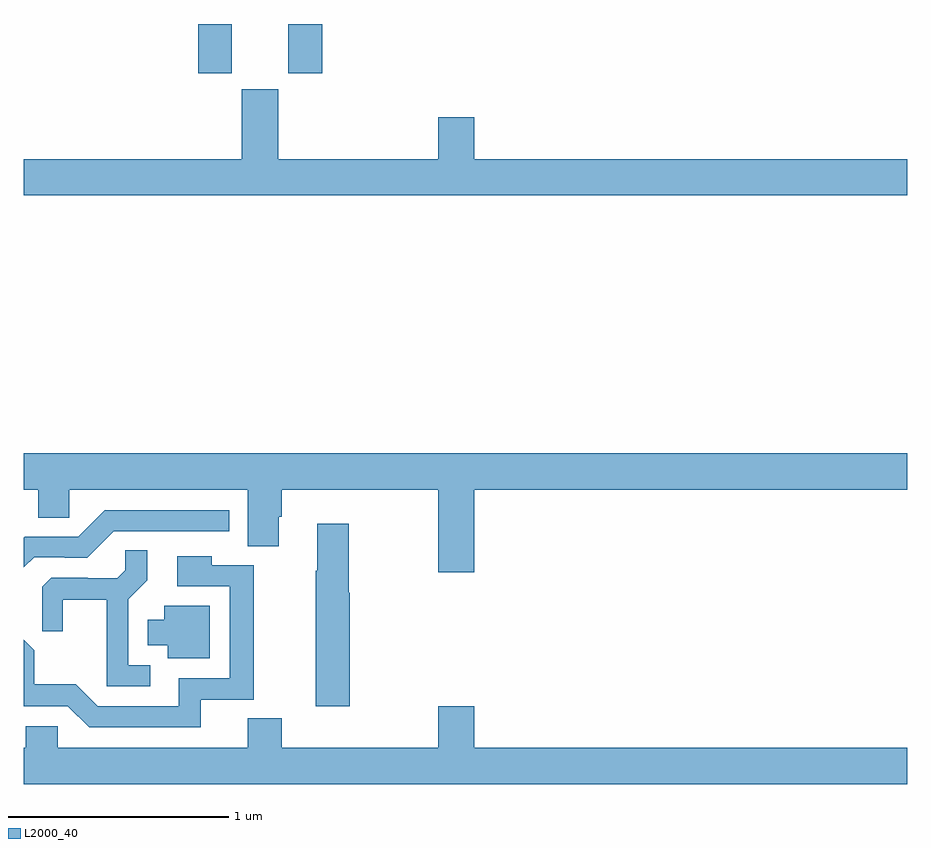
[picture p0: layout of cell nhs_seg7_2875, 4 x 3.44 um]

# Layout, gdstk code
import gdstk
lib = gdstk.Library(unit=1e-6, precision=1e-09)
def R(c, l, rs):  # rectangles x0, y0, x1, y1
    for r in rs: c.add(gdstk.rectangle(r[:2], r[2:], *l))
def P(c, l, *ps):  # polygons
    for p in ps: c.add(gdstk.Polygon(p, *l))
L2000_40 = (2000, 40)

nhs_seg7_2875 = lib.new_cell('nhs_seg7_2875')
R(nhs_seg7_2875, L2000_40, [(295.79,1059.777,295.942,1060), (296.198,1059.777,296.351,1060)])
P(nhs_seg7_2875, L2000_40, [(299,1059.388),(297.04,1059.388),(297.04,1059.577),(296.876,1059.577),(296.876,1059.388),(296.152,1059.388),(296.152,1059.705),(295.988,1059.705),(295.988,1059.388),(295,1059.388),(295,1059.224),(299,1059.224)],
  [(297.04,1057.892),(299,1057.892),(299,1058.056),(295,1058.056),(295,1057.892),(295.067,1057.892),(295.067,1057.765),(295.206,1057.765),(295.206,1057.892),(296.015,1057.892),(296.015,1057.636),(296.155,1057.636),(296.155,1057.77),(296.168,1057.77),(296.168,1057.892),(296.876,1057.892),(296.876,1057.518),(297.04,1057.518)],
  [(295.047,1057.587),(295.186,1057.587),(295.186,1057.584),(295.287,1057.584),(295.407,1057.704),(295.93,1057.704),(295.93,1057.8),(295.368,1057.8),(295.248,1057.68),(295.005,1057.68),(295,1057.675),(295,1057.54)],
  [(296.477,1057.425),(296.472,1057.425),(296.472,1057.738),(296.33,1057.738),(296.33,1057.525),(296.323,1057.525),(296.323,1056.912),(296.477,1056.912)],
  [(295.573,1057.098),(295.473,1057.098),(295.473,1057.397),(295.559,1057.483),(295.559,1057.619),(295.461,1057.619),(295.461,1057.528),(295.424,1057.491),(295.29,1057.491),(295.29,1057.494),(295.125,1057.494),(295.084,1057.453),(295.084,1057.251),(295.178,1057.251),(295.178,1057.394),(295.376,1057.394),(295.376,1057.002),(295.573,1057.002)],
  [(295.802,1056.942),(296.041,1056.942),(296.041,1057.551),(295.851,1057.551),(295.851,1057.591),(295.695,1057.591),(295.695,1057.455),(295.932,1057.455),(295.932,1057.038),(295.703,1057.038),(295.703,1056.912),(295.335,1056.912),(295.237,1057.011),(295.048,1057.011),(295.048,1057.166),(295,1057.214),(295,1056.912),(295.2,1056.912),(295.296,1056.816),(295.802,1056.816)],
  [(295.843,1057.366),(295.637,1057.366),(295.637,1057.303),(295.562,1057.303),(295.562,1057.187),(295.652,1057.187),(295.652,1057.13),(295.843,1057.13)],
  [(299,1056.724),(297.04,1056.724),(297.04,1056.913),(296.876,1056.913),(296.876,1056.724),(296.168,1056.724),(296.168,1056.857),(296.015,1056.857),(296.015,1056.724),(295.155,1056.724),(295.155,1056.822),(295.009,1056.822),(295.009,1056.724),(295,1056.724),(295,1056.56),(299,1056.56)])

lib.write_gds('nhs_seg7_2875.gds')
